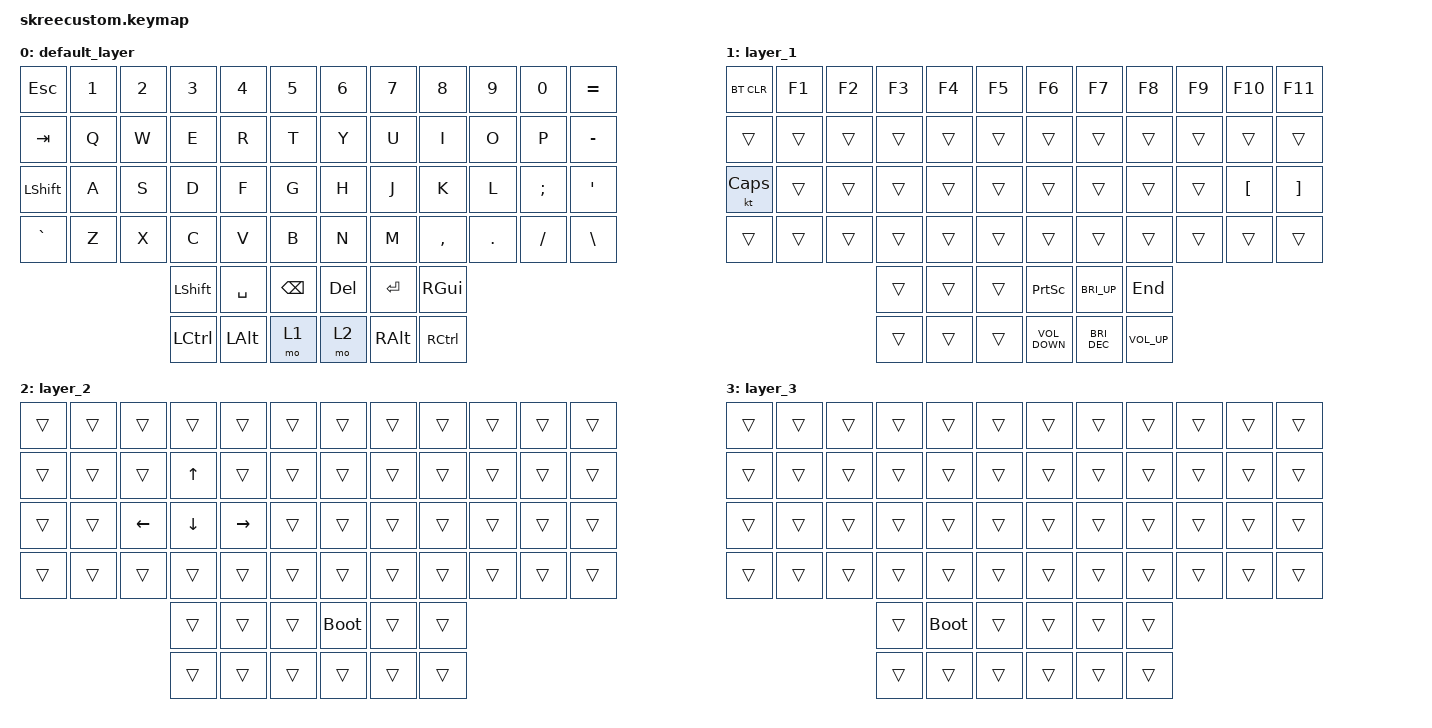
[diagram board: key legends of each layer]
/*
 * Copyright (c) 2020 The ZMK Contributors
 * 
 * SPDX-License-Identifier: MIT
 */

#include <input/processors.dtsi>
#include <dt-bindings/zmk/input_transform.h>
#include <behaviors.dtsi>
#include <dt-bindings/zmk/bt.h>
#include <dt-bindings/zmk/keys.h>

/ {
    keymap {
        compatible = "zmk,keymap";

        default_layer {
            bindings = <
&kp ESC    &kp N1  &kp N2  &kp N3     &kp N4     &kp N5      &kp N6   &kp N7    &kp N8     &kp N9   &kp N0    &kp EQUAL
&kp TAB    &kp Q   &kp W   &kp E      &kp R      &kp T       &kp Y    &kp U     &kp I      &kp O    &kp P     &kp MINUS
&kp LSHFT  &kp A   &kp S   &kp D      &kp F      &kp G       &kp H    &kp J     &kp K      &kp L    &kp SEMI  &kp SQT
&kp GRAVE  &kp Z   &kp X   &kp C      &kp V      &kp B       &kp N    &kp M     &kp COMMA  &kp DOT  &kp FSLH  &kp BSLH
                           &kp LSHFT  &kp SPACE  &kp BSPC    &kp DEL  &kp RET   &kp RGUI
                           &kp LCTRL  &kp LALT   &mo 1       &mo 2    &kp RALT  &kp RCTRL
            >;
        };

        layer_1 {
            bindings = <
&bt BT_CLR  &kp F1  &kp F2  &kp F3  &kp F4  &kp F5    &kp F6             &kp F7                &kp F8           &kp F9  &kp F10           &kp F11
&trans      &trans  &trans  &trans  &trans  &trans    &trans             &trans                &trans           &trans  &trans            &trans
&kt CAPS    &trans  &trans  &trans  &trans  &trans    &trans             &trans                &trans           &trans  &kp LEFT_BRACKET  &kp RIGHT_BRACKET
&trans      &trans  &trans  &trans  &trans  &trans    &trans             &trans                &trans           &trans  &trans            &trans
                            &trans  &trans  &trans    &kp PRINTSCREEN    &kp C_BRI_UP          &kp END
                            &trans  &trans  &trans    &kp C_VOLUME_DOWN  &kp C_BRIGHTNESS_DEC  &kp C_VOLUME_UP
            >;
        };

        layer_2 {
            bindings = <
&trans  &trans  &trans          &trans        &trans     &trans    &trans       &trans  &trans  &trans  &trans  &trans
&trans  &trans  &trans          &kp UP_ARROW  &trans     &trans    &trans       &trans  &trans  &trans  &trans  &trans
&trans  &trans  &kp LEFT_ARROW  &kp DOWN      &kp RIGHT  &trans    &trans       &trans  &trans  &trans  &trans  &trans
&trans  &trans  &trans          &trans        &trans     &trans    &trans       &trans  &trans  &trans  &trans  &trans
                                &trans        &trans     &trans    &bootloader  &trans  &trans
                                &trans        &trans     &trans    &trans       &trans  &trans
            >;
        };

        layer_3 {
            bindings = <
&trans  &trans  &trans  &trans  &trans       &trans    &trans  &trans  &trans  &trans  &trans  &trans
&trans  &trans  &trans  &trans  &trans       &trans    &trans  &trans  &trans  &trans  &trans  &trans
&trans  &trans  &trans  &trans  &trans       &trans    &trans  &trans  &trans  &trans  &trans  &trans
&trans  &trans  &trans  &trans  &trans       &trans    &trans  &trans  &trans  &trans  &trans  &trans
                        &trans  &bootloader  &trans    &trans  &trans  &trans
                        &trans  &trans       &trans    &trans  &trans  &trans
            >;
        };
    };
};

// //right hand trackball overrides
// &trackball_peripheral_listener {
//     input-processors =
//         <&zip_xy_transform INPUT_TRANSFORM_XY_SWAP>,//this gets it to the default installation orientation
//         <&zip_temp_layer 3 500>;//activate layer 3 within 500ms of the trackball moving
// };
// //left hand trackball overrides
// &trackball_central_listener {
//     input-processors = 
//         <&zip_xy_transform INPUT_TRANSFORM_XY_SWAP>,//this gets it to the default installation orientation
//         <&zip_xy_scaler 1 3>,//multiply sensitivity by 1, divide by 3 (make it slower for scrolling)
//         <&zip_xy_to_scroll_mapper>,//make this trackball output scrolling events by default instead of cursor movement
//         <&zip_scroll_transform INPUT_TRANSFORM_Y_INVERT>;//invert vertical scrolling so that the view moves in the same direction as the top of the trackball.
// };
